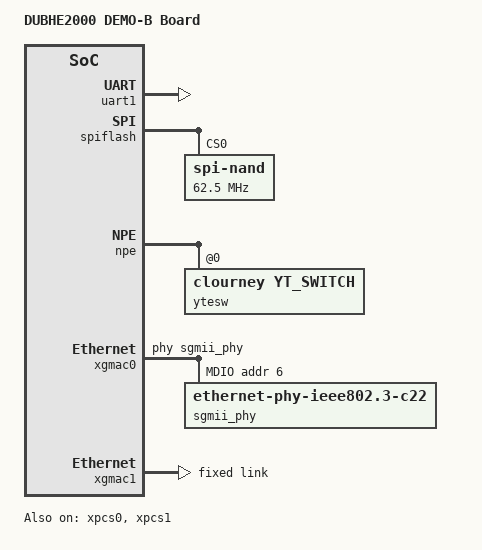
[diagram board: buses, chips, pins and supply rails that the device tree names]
/*
 * Device Tree Include file for Clourneysemi Dubhe1000 family SoC.
 *
 * Copyright (C) 2022 - 2024 Clourney Semiconductor. All rights reserved.
 */

/dts-v1/;
/include/ "clourneysemi-dubhe2000.dtsi"

 /{
	model = "DUBHE2000 DEMO-B Board";
	compatible = "clourneysemi,dubhe2000_demo";
	#size-cells = <0x2>;
	#address-cells = <0x2>;

	chosen {
		stdout-path = &uart1;
	};
};

&uart1 {
        status = "okay";
};

&spiflash {
	busclk = <250000000>;
	spi-max-frequency = <62500000>;
	rx-sample-delay-ns = <8>;
	status = "okay";
	spi-nand@0 {
		compatible = "spi-nand";
		reg = <0>;
		spi-max-frequency = <62500000>;
		status = "okay";
	};
};

&npe {
	ytesw@0 {
                compatible = "clourney,yt_switch";
                mdio-bus = <&mdio>;
                port-isolation="oooooox";
                /* rgmii. txc delay = txc_2ns_en * 2ns + txc_delay * 0.15ns;rxc delay = rxc_delay * 0.15ns */
                rgmii-rxc_delay = <1>;
                rgmii-txc_delay = <2>;
                rgmii-txc_2ns_en = <1>;
                reset-gpio = <4>;
        };
};

&xpcs0 {
	phy-mode = "sgmii";
	status = "okay";
};

&xpcs1 {
        phy-mode = "2500base-x";
        status = "okay";
};

&xgmac0 { 
	mode = "non-rgmii";
	max-speed = <2500>;
	clk-csr = <1>;
	status = "okay";
	phy-handle = <&sgmii_phy>;
	mdio: mdio {
                compatible = "clourney,mdio";
                #address-cells = <1>;
                #size-cells = <0>;
                device_type = "mdio";
                id = <0>;
                clk_csr = <1>;
                status = "okay";
                regs,phys_reset_init = <0x90410054 0xFFFF 0x6008>;
                sgmii_phy: ethernet-phy@6 {
                        compatible = "ethernet-phy-ieee802.3-c22";
                        reg = <0x6>;
                };
        };

};

&xgmac1 {
	mode = "non-rgmii";
	max-speed = <2500>;
	mac-address = [a0 c0 ab 39 cc f3];
	status = "okay";
	fixed-link {
		speed = <2500>;
		full-duplex;
		pause;
	};
};

&xgmac4 {
	status = "disabled";
};

&xgmac2 { status = "disabled";};

&xgmac3 { status = "disabled";};
